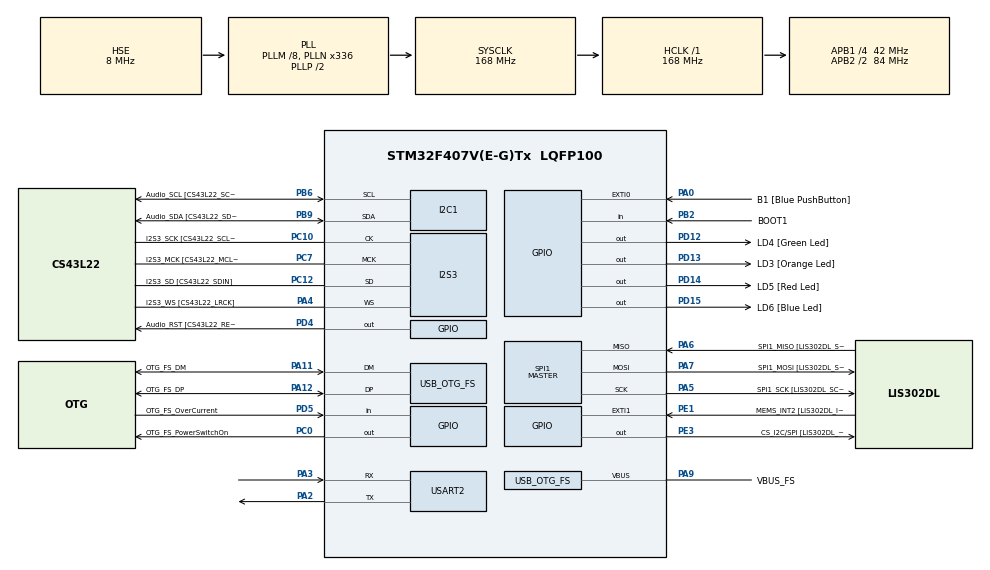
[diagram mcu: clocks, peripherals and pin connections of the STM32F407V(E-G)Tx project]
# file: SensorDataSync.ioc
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I2S3.AudioFreq-Half_Duplex_Master=I2S_AUDIOFREQ_96K
I2S3.ErrorAudioFreq=-2.34 %
I2S3.ErrorAudioFreq-Half_Duplex_Master=0.8 %
I2S3.FullDuplexMode=I2S_FULLDUPLEXMODE_DISABLE
I2S3.Instance=SPI$Index
I2S3.RealAudioFreq=93.75 KHz
I2S3.RealAudioFreq-Half_Duplex_Master=96.774 KHz
I2S3.VirtualMode=I2S_MODE_MASTER
Mcu.Family=STM32F4
Mcu.Name=STM32F407V(E-G)Tx
Mcu.Package=LQFP100
NVIC.OTG_FS_IRQn=true\:0\:0\:false\:false\:true\:true\:true\:true
NVIC.PriorityGroup=NVIC_PRIORITYGROUP_4
NVIC.TIM6_DAC_IRQn=true\:15\:0\:false\:false\:true\:false\:true\:true
NVIC.TimeBase=TIM6_DAC_IRQn
NVIC.TimeBaseIP=TIM6
PA0-WKUP.GPIO_Label=B1 [Blue PushButton]
PA0-WKUP.GPIO_ModeDefaultEXTI=GPIO_MODE_EVT_RISING
PA0-WKUP.GPIO_PuPd=GPIO_NOPULL
PA0-WKUP.Signal=GPXTI0
PA10.GPIO_Label=OTG_FS_ID
PA10.GPIO_Mode=GPIO_MODE_AF_PP
PA10.GPIO_PuPd=GPIO_NOPULL
PA10.GPIO_Speed=GPIO_SPEED_FREQ_LOW
PA10.Signal=USB_OTG_FS_ID
PA11.GPIO_Label=OTG_FS_DM
PA11.GPIO_Mode=GPIO_MODE_AF_PP
PA11.GPIO_PuPd=GPIO_NOPULL
PA11.GPIO_Speed=GPIO_SPEED_FREQ_LOW
PA11.Mode=Host_Only
PA11.Signal=USB_OTG_FS_DM
PA12.GPIO_Label=OTG_FS_DP
PA12.GPIO_Mode=GPIO_MODE_AF_PP
PA12.GPIO_PuPd=GPIO_NOPULL
PA12.GPIO_Speed=GPIO_SPEED_FREQ_LOW
PA12.Mode=Host_Only
PA12.Signal=USB_OTG_FS_DP
PA13.GPIO_Label=SWDIO
PA13.Mode=Serial_Wire
PA13.Signal=SYS_JTMS-SWDIO
PA14.GPIO_Label=SWCLK
PA14.Mode=Serial_Wire
PA14.Signal=SYS_JTCK-SWCLK
PA2.Mode=Asynchronous
PA2.Signal=USART2_TX
PA3.Mode=Asynchronous
PA3.Signal=USART2_RX
PA4.GPIO_Label=I2S3_WS [CS43L22_LRCK]
PA4.GPIO_Mode=GPIO_MODE_AF_PP
PA4.GPIO_PuPd=GPIO_NOPULL
PA4.GPIO_Speed=GPIO_SPEED_FREQ_LOW
PA4.Mode=Half_Duplex_Master
PA4.Signal=I2S3_WS
PA5.GPIO_Label=SPI1_SCK [LIS302DL_SCL/SPC]
PA5.GPIO_Mode=GPIO_MODE_AF_PP
PA5.GPIO_PuPd=GPIO_NOPULL
PA5.GPIO_Speed=GPIO_SPEED_FREQ_LOW
PA5.Mode=Full_Duplex_Master
PA5.Signal=SPI1_SCK
PA6.GPIO_Label=SPI1_MISO [LIS302DL_SDO]
PA6.GPIO_Mode=GPIO_MODE_AF_PP
PA6.GPIO_PuPd=GPIO_NOPULL
PA6.GPIO_Speed=GPIO_SPEED_FREQ_LOW
PA6.Mode=Full_Duplex_Master
PA6.Signal=SPI1_MISO
PA7.GPIO_Label=SPI1_MOSI [LIS302DL_SDA/SDI/SDO]
PA7.GPIO_Mode=GPIO_MODE_AF_PP
PA7.GPIO_PuPd=GPIO_NOPULL
PA7.GPIO_Speed=GPIO_SPEED_FREQ_LOW
PA7.Mode=Full_Duplex_Master
PA7.Signal=SPI1_MOSI
PA9.GPIO_Label=VBUS_FS
PA9.GPIO_Mode=GPIO_MODE_INPUT
PA9.GPIO_PuPd=GPIO_NOPULL
PA9.Mode=Activate_VBUS
PA9.Signal=USB_OTG_FS_VBUS
PB10.GPIO_Label=CLK_IN [MP45DT02_CLK]
PB10.GPIO_Mode=GPIO_MODE_AF_PP
PB10.GPIO_PuPd=GPIO_NOPULL
PB10.GPIO_Speed=GPIO_SPEED_FREQ_LOW
PB10.Signal=I2S2_CK
PB2.GPIO_Label=BOOT1
PB2.GPIO_Mode=GPIO_MODE_INPUT
PB2.GPIO_PuPd=GPIO_NOPULL
PB2.Signal=GPIO_Input
PB3.GPIO_Label=SWO
PB3.Signal=SYS_JTDO-SWO
PB6.GPIO_Label=Audio_SCL [CS43L22_SCL]
PB6.GPIO_Mode=GPIO_MODE_AF_OD
PB6.GPIO_Pu=GPIO_PULLUP
PB6.GPIO_PuPd=GPIO_NOPULL
PB6.GPIO_Speed=GPIO_SPEED_FREQ_LOW
PB6.Mode=I2C
PB6.Signal=I2C1_SCL
PB9.GPIO_Label=Audio_SDA [CS43L22_SDA]
PB9.GPIO_Mode=GPIO_MODE_AF_OD
PB9.GPIO_Pu=GPIO_PULLUP
PB9.GPIO_PuPd=GPIO_NOPULL
PB9.GPIO_Speed=GPIO_SPEED_FREQ_LOW
PB9.Mode=I2C
PB9.Signal=I2C1_SDA
PC0.GPIO_Label=OTG_FS_PowerSwitchOn
PC0.GPIO_PuPd=GPIO_NOPULL
PC0.GPIO_Speed=GPIO_SPEED_FREQ_LOW
PC0.PinState=GPIO_PIN_SET
PC0.Signal=GPIO_Output
PC10.GPIO_Label=I2S3_SCK [CS43L22_SCLK]
PC10.GPIO_Mode=GPIO_MODE_AF_PP
PC10.GPIO_PuPd=GPIO_NOPULL
PC10.GPIO_Speed=GPIO_SPEED_FREQ_LOW
PC10.Mode=Half_Duplex_Master
PC10.Signal=I2S3_CK
PC12.GPIO_Label=I2S3_SD [CS43L22_SDIN]
PC12.GPIO_Mode=GPIO_MODE_AF_PP
PC12.GPIO_PuPd=GPIO_NOPULL
PC12.GPIO_Speed=GPIO_SPEED_FREQ_LOW
PC12.Mode=Half_Duplex_Master
PC12.Signal=I2S3_SD
PC14-OSC32_IN.GPIO_Label=PC14-OSC32_IN
PC14-OSC32_IN.Mode=LSE-External-Oscillator
PC14-OSC32_IN.Signal=RCC_OSC32_IN
PC15-OSC32_OUT.GPIO_Label=PC15-OSC32_OUT
PC15-OSC32_OUT.Mode=LSE-External-Oscillator
PC15-OSC32_OUT.Signal=RCC_OSC32_OUT
PC3.GPIO_Label=PDM_OUT [MP45DT02_DOUT]
PC3.GPIO_Mode=GPIO_MODE_AF_PP
PC3.GPIO_PuPd=GPIO_NOPULL
PC3.GPIO_Speed=GPIO_SPEED_FREQ_LOW
PC3.Signal=I2S2_SD
PC7.GPIO_Label=I2S3_MCK [CS43L22_MCLK]
PC7.GPIO_Mode=GPIO_MODE_AF_PP
PC7.GPIO_PuPd=GPIO_NOPULL
PC7.GPIO_Speed=GPIO_SPEED_FREQ_LOW
PC7.Mode=Master_Clock_Activated
PC7.Signal=I2S3_MCK
PD12.GPIO_Label=LD4 [Green Led]
PD12.GPIO_PuPd=GPIO_NOPULL
PD12.GPIO_Speed=GPIO_SPEED_FREQ_LOW
PD12.Signal=GPIO_Output
PD13.GPIO_Label=LD3 [Orange Led]
PD13.GPIO_PuPd=GPIO_NOPULL
PD13.GPIO_Speed=GPIO_SPEED_FREQ_LOW
PD13.Signal=GPIO_Output
PD14.GPIO_Label=LD5 [Red Led]
PD14.GPIO_PuPd=GPIO_NOPULL
PD14.GPIO_Speed=GPIO_SPEED_FREQ_LOW
PD14.Signal=GPIO_Output
PD15.GPIO_Label=LD6 [Blue Led]
PD15.GPIO_PuPd=GPIO_NOPULL
PD15.GPIO_Speed=GPIO_SPEED_FREQ_LOW
PD15.Signal=GPIO_Output
PD4.GPIO_Label=Audio_RST [CS43L22_RESET]
PD4.GPIO_PuPd=GPIO_NOPULL
PD4.GPIO_Speed=GPIO_SPEED_FREQ_LOW
PD4.Signal=GPIO_Output
PD5.GPIO_Label=OTG_FS_OverCurrent
PD5.GPIO_Mode=GPIO_MODE_INPUT
PD5.GPIO_PuPd=GPIO_NOPULL
PD5.Signal=GPIO_Input
PE1.GPIO_Label=MEMS_INT2 [LIS302DL_INT2]
PE1.GPIO_ModeDefaultEXTI=GPIO_MODE_EVT_RISING
PE1.GPIO_PuPd=GPIO_NOPULL
PE1.Signal=GPXTI1
PE3.GPIO_Label=CS_I2C/SPI [LIS302DL_CS_I2C/SPI]
PE3.GPIO_PuPd=GPIO_NOPULL
PE3.GPIO_Speed=GPIO_SPEED_FREQ_LOW
PE3.Signal=GPIO_Output
PH0-OSC_IN.GPIO_Label=PH0-OSC_IN
PH0-OSC_IN.Mode=HSE-External-Oscillator
PH0-OSC_IN.Signal=RCC_OSC_IN
PH1-OSC_OUT.GPIO_Label=PH1-OSC_OUT
PH1-OSC_OUT.Mode=HSE-External-Oscillator
PH1-OSC_OUT.Signal=RCC_OSC_OUT
ProjectManager.HeapSize=0x200
ProjectManager.StackSize=0x400
ProjectManager.TargetToolchain=STM32CubeIDE
RCC.48MHZClocksFreq_Value=48000000
RCC.AHBFreq_Value=168000000
RCC.APB1CLKDivider=RCC_HCLK_DIV4
RCC.APB1Freq_Value=42000000
RCC.APB1TimFreq_Value=84000000
RCC.APB2CLKDivider=RCC_HCLK_DIV2
RCC.APB2Freq_Value=84000000
RCC.APB2TimFreq_Value=168000000
RCC.CortexFreq_Value=168000000
RCC.HCLKFreq_Value=168000000
RCC.HSE_VALUE=8000000
RCC.HSI_VALUE=16000000
RCC.PLLM=8
RCC.PLLN=336
RCC.PLLQ=7
RCC.SYSCLKFreq_VALUE=168000000
RCC.SYSCLKSource=RCC_SYSCLKSOURCE_PLLCLK
RCC.VCOOutputFreq_Value=336000000
SPI1.BaudRatePrescaler-Full_Duplex_Master=SPI_BAUDRATEPRESCALER_2
SPI1.CalculateBaudRate-Full_Duplex_Master=42.0 MBits/s
SPI1.Direction=SPI_DIRECTION_2LINES
SPI1.Mode=SPI_MODE_MASTER
SPI1.Mode-Full_Duplex_Master=SPI_MODE_MASTER
SPI1.VirtualType=VM_MASTER
USART2.VirtualMode=VM_ASYNC
USB_HOST.BSP.number=1
USB_HOST.USBH_HandleTypeDef-CDC_FS=hUsbHostFS
USB_HOST.VirtualModeFS=Cdc
USB_HOST0.BSP.STBoard=false
USB_HOST0.BSP.api=Unknown
USB_HOST0.BSP.instance=PC0
USB_HOST0.BSP.ip=GPIO
USB_HOST0.BSP.mode=Output
USB_HOST0.BSP.name=Drive_VBUS_FS
USB_HOST0.BSP.solution=PC0
USB_OTG_FS.VirtualMode=Host_Only
USB_OTG_FS.phy_itface=HCD_PHY_EMBEDDED
VP_SYS_VS_tim6.Mode=TIM6
VP_USB_HOST_VS_USB_HOST_CDC_FS.Mode=CDC_FS
board=STM32F407G-DISC1

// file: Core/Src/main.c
/* USER CODE BEGIN Header */
/**
  ******************************************************************************
  * @file           : main.c
  * @brief          : Main program body
  ******************************************************************************
  * @attention
  *
  * Copyright (c) 2025 STMicroelectronics.
  * All rights reserved.
  *
  * This software is licensed under terms that can be found in the LICENSE file
  * in the root directory of this software component.
  * If no LICENSE file comes with this software, it is provided AS-IS.
  *
  ******************************************************************************
  */
/* USER CODE END Header */
#include "main.h"
#include "usb_host.h"

/* USER CODE BEGIN Includes */
#include "FreeRTOS.h"
#include "task.h"
#include "semphr.h"
#include <stdlib.h>
#include <string.h>
#include <stdio.h>
#include <time.h>
/* USER CODE END Includes */

I2C_HandleTypeDef hi2c1;

I2S_HandleTypeDef hi2s3;

SPI_HandleTypeDef hspi1;

UART_HandleTypeDef huart2;

void SystemClock_Config(void);
static void MX_GPIO_Init(void);
static void MX_I2C1_Init(void);
static void MX_I2S3_Init(void);
static void MX_SPI1_Init(void);
static void MX_USART2_UART_Init(void);
void MX_USB_HOST_Process(void);

/* USER CODE BEGIN PFP */
void UART_Print(const char *message);
void vSensorAcquisitionTask(void *pvParameters);
void vSensorProcessingTask(void *pvParameters);
/* USER CODE END PFP */

/* USER CODE BEGIN 0 */
#define MAX_SENSOR_READINGS 10

SemaphoreHandle_t xSensorDataSemaphore;

SemaphoreHandle_t xSensorMutex;

// Global sensör okuma değişkeni (gerçek sensörler kullanılmamaktadır.)
int globalSensorReading = 0;

/* USER CODE END 0 */

int main(void)
{
  /* USER CODE BEGIN 1 */
	 srand((unsigned)time(NULL));

	 xSensorDataSemaphore = xSemaphoreCreateCounting(MAX_SENSOR_READINGS, 0);
	     if( xSensorDataSemaphore == NULL )
	     {
	         UART_Print("Sensor data counting semaphore olusturulamadi!\r\n");
	         while(1);
	     }

	     xSensorMutex = xSemaphoreCreateMutex();
	         if( xSensorMutex == NULL )
	         {
	             UART_Print("Sensor mutex olusturulamadi!\r\n");
	             while(1);
	         }

	         // Yüksek öncelikli: Veri alma işlemi
	         xTaskCreate(vSensorAcquisitionTask, "SensorAcq", configMINIMAL_STACK_SIZE, NULL,3, NULL);
	         //  daha düşük öncelikli: Veri işleme işlemi
	         xTaskCreate(vSensorProcessingTask, "SensorProc", configMINIMAL_STACK_SIZE, NULL, 2, NULL);

	         vTaskStartScheduler();
  /* USER CODE END 1 */

  /* MCU Configuration--------------------------------------------------------*/

  /* Reset of all peripherals, Initializes the Flash interface and the Systick. */
  HAL_Init();

  /* Configure the system clock */
  SystemClock_Config();

  /* Initialize all configured peripherals */
  MX_GPIO_Init();
  MX_I2C1_Init();
  MX_I2S3_Init();
  MX_SPI1_Init();
  MX_USB_HOST_Init();
  MX_USART2_UART_Init();

  /* Infinite loop */
  while (1)
  {
    MX_USB_HOST_Process();

  }
}

void SystemClock_Config(void)
{
  RCC_OscInitTypeDef RCC_OscInitStruct = {0};
  RCC_ClkInitTypeDef RCC_ClkInitStruct = {0};

  /** Configure the main internal regulator output voltage
  */
  __HAL_RCC_PWR_CLK_ENABLE();
  __HAL_PWR_VOLTAGESCALING_CONFIG(PWR_REGULATOR_VOLTAGE_SCALE1);

  /** Initializes the RCC Oscillators according to the specified parameters
  * in the RCC_OscInitTypeDef structure.
  */
  RCC_OscInitStruct.OscillatorType = RCC_OSCILLATORTYPE_HSE;
  RCC_OscInitStruct.HSEState = RCC_HSE_ON;
  RCC_OscInitStruct.PLL.PLLState = RCC_PLL_ON;
  RCC_OscInitStruct.PLL.PLLSource = RCC_PLLSOURCE_HSE;
  RCC_OscInitStruct.PLL.PLLM = 8;
  RCC_OscInitStruct.PLL.PLLN = 336;
  RCC_OscInitStruct.PLL.PLLP = RCC_PLLP_DIV2;
  RCC_OscInitStruct.PLL.PLLQ = 7;
  if (HAL_RCC_OscConfig(&RCC_OscInitStruct) != HAL_OK)
  {
    Error_Handler();
  }

  /** Initializes the CPU, AHB and APB buses clocks
  */
  RCC_ClkInitStruct.ClockType = RCC_CLOCKTYPE_HCLK|RCC_CLOCKTYPE_SYSCLK
                              |RCC_CLOCKTYPE_PCLK1|RCC_CLOCKTYPE_PCLK2;
  RCC_ClkInitStruct.SYSCLKSource = RCC_SYSCLKSOURCE_PLLCLK;
  RCC_ClkInitStruct.AHBCLKDivider = RCC_SYSCLK_DIV1;
  RCC_ClkInitStruct.APB1CLKDivider = RCC_HCLK_DIV4;
  RCC_ClkInitStruct.APB2CLKDivider = RCC_HCLK_DIV2;

  if (HAL_RCC_ClockConfig(&RCC_ClkInitStruct, FLASH_LATENCY_5) != HAL_OK)
  {
    Error_Handler();
  }
}

static void MX_I2C1_Init(void)
{

  hi2c1.Instance = I2C1;
  hi2c1.Init.ClockSpeed = 100000;
  hi2c1.Init.DutyCycle = I2C_DUTYCYCLE_2;
  hi2c1.Init.OwnAddress1 = 0;
  hi2c1.Init.AddressingMode = I2C_ADDRESSINGMODE_7BIT;
  hi2c1.Init.DualAddressMode = I2C_DUALADDRESS_DISABLE;
  hi2c1.Init.OwnAddress2 = 0;
  hi2c1.Init.GeneralCallMode = I2C_GENERALCALL_DISABLE;
  hi2c1.Init.NoStretchMode = I2C_NOSTRETCH_DISABLE;
  if (HAL_I2C_Init(&hi2c1) != HAL_OK)
  {
    Error_Handler();
  }

}

static void MX_I2S3_Init(void)
{

  hi2s3.Instance = SPI3;
  hi2s3.Init.Mode = I2S_MODE_MASTER_TX;
  hi2s3.Init.Standard = I2S_STANDARD_PHILIPS;
  hi2s3.Init.DataFormat = I2S_DATAFORMAT_16B;
  hi2s3.Init.MCLKOutput = I2S_MCLKOUTPUT_ENABLE;
  hi2s3.Init.AudioFreq = I2S_AUDIOFREQ_96K;
  hi2s3.Init.CPOL = I2S_CPOL_LOW;
  hi2s3.Init.ClockSource = I2S_CLOCK_PLL;
  hi2s3.Init.FullDuplexMode = I2S_FULLDUPLEXMODE_DISABLE;
  if (HAL_I2S_Init(&hi2s3) != HAL_OK)
  {
    Error_Handler();
  }

}

static void MX_SPI1_Init(void)
{

  /* SPI1 parameter configuration*/
  hspi1.Instance = SPI1;
  hspi1.Init.Mode = SPI_MODE_MASTER;
  hspi1.Init.Direction = SPI_DIRECTION_2LINES;
  hspi1.Init.DataSize = SPI_DATASIZE_8BIT;
  hspi1.Init.CLKPolarity = SPI_POLARITY_LOW;
  hspi1.Init.CLKPhase = SPI_PHASE_1EDGE;
  hspi1.Init.NSS = SPI_NSS_SOFT;
  hspi1.Init.BaudRatePrescaler = SPI_BAUDRATEPRESCALER_2;
  hspi1.Init.FirstBit = SPI_FIRSTBIT_MSB;
  hspi1.Init.TIMode = SPI_TIMODE_DISABLE;
  hspi1.Init.CRCCalculation = SPI_CRCCALCULATION_DISABLE;
  hspi1.Init.CRCPolynomial = 10;
  if (HAL_SPI_Init(&hspi1) != HAL_OK)
  {
    Error_Handler();
  }

}

static void MX_USART2_UART_Init(void)
{

  huart2.Instance = USART2;
  huart2.Init.BaudRate = 115200;
  huart2.Init.WordLength = UART_WORDLENGTH_8B;
  huart2.Init.StopBits = UART_STOPBITS_1;
  huart2.Init.Parity = UART_PARITY_NONE;
  huart2.Init.Mode = UART_MODE_TX_RX;
  huart2.Init.HwFlowCtl = UART_HWCONTROL_NONE;
  huart2.Init.OverSampling = UART_OVERSAMPLING_16;
  if (HAL_UART_Init(&huart2) != HAL_OK)
  {
    Error_Handler();
  }

}

static void MX_GPIO_Init(void)
{
  GPIO_InitTypeDef GPIO_InitStruct = {0};

  /* GPIO Ports Clock Enable */
  __HAL_RCC_GPIOE_CLK_ENABLE();
  __HAL_RCC_GPIOC_CLK_ENABLE();
  __HAL_RCC_GPIOH_CLK_ENABLE();
  __HAL_RCC_GPIOA_CLK_ENABLE();
  __HAL_RCC_GPIOB_CLK_ENABLE();
  __HAL_RCC_GPIOD_CLK_ENABLE();

  /*Configure GPIO pin Output Level */
  HAL_GPIO_WritePin(CS_I2C_SPI_GPIO_Port, CS_I2C_SPI_Pin, GPIO_PIN_RESET);

  /*Configure GPIO pin Output Level */
  HAL_GPIO_WritePin(OTG_FS_PowerSwitchOn_GPIO_Port, OTG_FS_PowerSwitchOn_Pin, GPIO_PIN_SET);

  /*Configure GPIO pin Output Level */
  HAL_GPIO_WritePin(GPIOD, LD4_Pin|LD3_Pin|LD5_Pin|LD6_Pin
                          |Audio_RST_Pin, GPIO_PIN_RESET);

  /*Configure GPIO pin : CS_I2C_SPI_Pin */
  GPIO_InitStruct.Pin = CS_I2C_SPI_Pin;
  GPIO_InitStruct.Mode = GPIO_MODE_OUTPUT_PP;
  GPIO_InitStruct.Pull = GPIO_NOPULL;
  GPIO_InitStruct.Speed = GPIO_SPEED_FREQ_LOW;
  HAL_GPIO_Init(CS_I2C_SPI_GPIO_Port, &GPIO_InitStruct);

  /*Configure GPIO pin : OTG_FS_PowerSwitchOn_Pin */
  GPIO_InitStruct.Pin = OTG_FS_PowerSwitchOn_Pin;
  GPIO_InitStruct.Mode = GPIO_MODE_OUTPUT_PP;
  GPIO_InitStruct.Pull = GPIO_NOPULL;
  GPIO_InitStruct.Speed = GPIO_SPEED_FREQ_LOW;
  HAL_GPIO_Init(OTG_FS_PowerSwitchOn_GPIO_Port, &GPIO_InitStruct);

  /*Configure GPIO pin : PDM_OUT_Pin */
  GPIO_InitStruct.Pin = PDM_OUT_Pin;
  GPIO_InitStruct.Mode = GPIO_MODE_AF_PP;
  GPIO_InitStruct.Pull = GPIO_NOPULL;
  GPIO_InitStruct.Speed = GPIO_SPEED_FREQ_LOW;
  GPIO_InitStruct.Alternate = GPIO_AF5_SPI2;
  HAL_GPIO_Init(PDM_OUT_GPIO_Port, &GPIO_InitStruct);

  /*Configure GPIO pin : B1_Pin */
  GPIO_InitStruct.Pin = B1_Pin;
  GPIO_InitStruct.Mode = GPIO_MODE_EVT_RISING;
  GPIO_InitStruct.Pull = GPIO_NOPULL;
  HAL_GPIO_Init(B1_GPIO_Port, &GPIO_InitStruct);

  /*Configure GPIO pin : BOOT1_Pin */
  GPIO_InitStruct.Pin = BOOT1_Pin;
  GPIO_InitStruct.Mode = GPIO_MODE_INPUT;
  GPIO_InitStruct.Pull = GPIO_NOPULL;
  HAL_GPIO_Init(BOOT1_GPIO_Port, &GPIO_InitStruct);

  /*Configure GPIO pin : CLK_IN_Pin */
  GPIO_InitStruct.Pin = CLK_IN_Pin;
  GPIO_InitStruct.Mode = GPIO_MODE_AF_PP;
  GPIO_InitStruct.Pull = GPIO_NOPULL;
  GPIO_InitStruct.Speed = GPIO_SPEED_FREQ_LOW;
  GPIO_InitStruct.Alternate = GPIO_AF5_SPI2;
  HAL_GPIO_Init(CLK_IN_GPIO_Port, &GPIO_InitStruct);

  /*Configure GPIO pins : LD4_Pin LD3_Pin LD5_Pin LD6_Pin
                           Audio_RST_Pin */
  GPIO_InitStruct.Pin = LD4_Pin|LD3_Pin|LD5_Pin|LD6_Pin
                          |Audio_RST_Pin;
  GPIO_InitStruct.Mode = GPIO_MODE_OUTPUT_PP;
  GPIO_InitStruct.Pull = GPIO_NOPULL;
  GPIO_InitStruct.Speed = GPIO_SPEED_FREQ_LOW;
  HAL_GPIO_Init(GPIOD, &GPIO_InitStruct);

  /*Configure GPIO pin : OTG_FS_OverCurrent_Pin */
  GPIO_InitStruct.Pin = OTG_FS_OverCurrent_Pin;
  GPIO_InitStruct.Mode = GPIO_MODE_INPUT;
  GPIO_InitStruct.Pull = GPIO_NOPULL;
  HAL_GPIO_Init(OTG_FS_OverCurrent_GPIO_Port, &GPIO_InitStruct);

  /*Configure GPIO pin : MEMS_INT2_Pin */
  GPIO_InitStruct.Pin = MEMS_INT2_Pin;
  GPIO_InitStruct.Mode = GPIO_MODE_EVT_RISING;
  GPIO_InitStruct.Pull = GPIO_NOPULL;
  HAL_GPIO_Init(MEMS_INT2_GPIO_Port, &GPIO_InitStruct);

}

/* USER CODE BEGIN 4 */

void UART_Print(const char *message)
{
    HAL_UART_Transmit(&huart2, (uint8_t *)message, strlen(message), 100);
}

/* Sensör verisini alan görev (Sensor Acquisition) */
void vSensorAcquisitionTask(void *pvParameters)
{
    char buffer[100];
    for( ;; )
    {
        // Sensöre eşzamanlı erişimi engellemek için mutex alınır.

        if( xSemaphoreTake(xSensorMutex, portMAX_DELAY) == pdTRUE )
        {
            /* Gerçek sensör okuması yerine, 20 ile 30 arasında rastgele bir sıcaklık değeri simüle ediliyor */
            globalSensorReading = 20 + (rand() % 11);
            sprintf(buffer, "Sensor Acquisition: Yeni sicaklik olcum alindi: %d°C\r\n", globalSensorReading);
            UART_Print(buffer);

            /* Sensör okuma süresini simüle etmek için kısa bir gecikme */
            vTaskDelay(pdMS_TO_TICKS(300));

            /* Mutex serbest bırakılarak sensör donanımına diğer görevlerin erişimine izin verilir */
            xSemaphoreGive(xSensorMutex);
        }

        /* Yeni veri alındığını belirtmek için counting semaphore'un sayacı artırılır */
        xSemaphoreGive(xSensorDataSemaphore);
        UART_Print("Sensor Acquisition: Veri paketi sayaci artirildi.\r\n");

        /* Bir sonraki ölçüm öncesi bekleme süresi */
        vTaskDelay(pdMS_TO_TICKS(800));
    }
}

/* Alınan sensör verisini işleyen görev (Sensor Processing) */
void vSensorProcessingTask(void *pvParameters)
{
    char buffer[100];
    for( ;; )
    {
        /* Mevcut veri paketlerinin sayısını takip eden semaphore'u bekleriz.
           Eğer sayaç sıfırdan büyükse, bir veri var demektir. */
        if( xSemaphoreTake(xSensorDataSemaphore, portMAX_DELAY) == pdTRUE )
        {
            sprintf(buffer, "Sensor Processing: Isleniyor - Sicaklik degeri: %d°C\r\n", globalSensorReading);
            UART_Print(buffer);

            /* Veri işleme süresi simülasyonu */
            vTaskDelay(pdMS_TO_TICKS(500));
        }
    }
}

/* USER CODE END 4 */

void HAL_TIM_PeriodElapsedCallback(TIM_HandleTypeDef *htim)
{
  if (htim->Instance == TIM6) {
    HAL_IncTick();
  }
}

void Error_Handler(void)
{
  __disable_irq();
  while (1)
  {
  }
}
